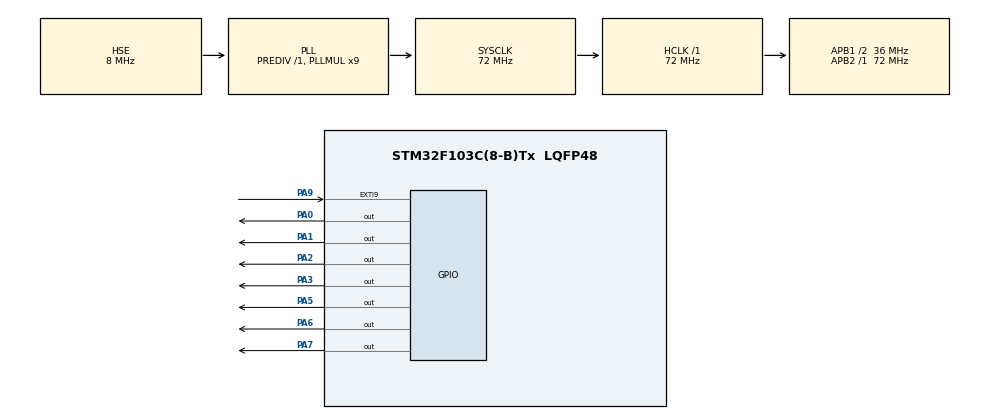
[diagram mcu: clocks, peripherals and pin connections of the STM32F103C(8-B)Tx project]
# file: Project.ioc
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FREERTOS.Tasks01=defaultTask,24,128,StartDefaultTask,Default,NULL,Dynamic,NULL,NULL
Mcu.Family=STM32F1
Mcu.Name=STM32F103C(8-B)Tx
Mcu.Package=LQFP48
NVIC.EXTI9_5_IRQn=true\:2\:0\:true\:false\:true\:false\:true\:true\:true
NVIC.PriorityGroup=NVIC_PRIORITYGROUP_4
NVIC.TIM4_IRQn=true\:0\:0\:false\:false\:true\:false\:false\:true\:true
NVIC.TimeBase=TIM4_IRQn
NVIC.TimeBaseIP=TIM4
PA0-WKUP.GPIO_Speed=GPIO_SPEED_FREQ_HIGH
PA0-WKUP.PinState=GPIO_PIN_SET
PA0-WKUP.Signal=GPIO_Output
PA1.GPIO_Speed=GPIO_SPEED_FREQ_HIGH
PA1.PinState=GPIO_PIN_SET
PA1.Signal=GPIO_Output
PA13.Mode=Serial_Wire
PA13.Signal=SYS_JTMS-SWDIO
PA14.Mode=Serial_Wire
PA14.Signal=SYS_JTCK-SWCLK
PA2.GPIO_Speed=GPIO_SPEED_FREQ_HIGH
PA2.PinState=GPIO_PIN_SET
PA2.Signal=GPIO_Output
PA3.GPIO_Speed=GPIO_SPEED_FREQ_HIGH
PA3.PinState=GPIO_PIN_SET
PA3.Signal=GPIO_Output
PA5.GPIO_Speed=GPIO_SPEED_FREQ_HIGH
PA5.PinState=GPIO_PIN_SET
PA5.Signal=GPIO_Output
PA6.GPIO_Speed=GPIO_SPEED_FREQ_HIGH
PA6.PinState=GPIO_PIN_SET
PA6.Signal=GPIO_Output
PA7.GPIO_Speed=GPIO_SPEED_FREQ_HIGH
PA7.PinState=GPIO_PIN_SET
PA7.Signal=GPIO_Output
PA9.GPIO_ModeDefaultEXTI=GPIO_MODE_IT_FALLING
PA9.GPIO_PuPd=GPIO_PULLUP
PA9.Signal=GPXTI9
PD0-OSC_IN.Mode=HSE-External-Oscillator
PD0-OSC_IN.Signal=RCC_OSC_IN
PD1-OSC_OUT.Mode=HSE-External-Oscillator
PD1-OSC_OUT.Signal=RCC_OSC_OUT
ProjectManager.HeapSize=0x200
ProjectManager.StackSize=0x400
ProjectManager.TargetToolchain=MDK-ARM V5.32
RCC.AHBFreq_Value=72000000
RCC.APB1CLKDivider=RCC_HCLK_DIV2
RCC.APB1Freq_Value=36000000
RCC.APB1TimFreq_Value=72000000
RCC.APB2Freq_Value=72000000
RCC.APB2TimFreq_Value=72000000
RCC.HCLKFreq_Value=72000000
RCC.PLLMUL=RCC_PLL_MUL9
RCC.PLLSourceVirtual=RCC_PLLSOURCE_HSE
RCC.SYSCLKFreq_VALUE=72000000
RCC.SYSCLKSource=RCC_SYSCLKSOURCE_PLLCLK
RCC.USBFreq_Value=72000000
TIM2.AutoReloadPreload=TIM_AUTORELOAD_PRELOAD_ENABLE
TIM2.Prescaler=71
VP_FREERTOS_VS_CMSIS_V2.Mode=CMSIS_V2
VP_SYS_VS_tim4.Mode=TIM4
VP_TIM2_VS_ClockSourceINT.Mode=Internal
board=custom

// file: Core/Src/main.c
/* USER CODE BEGIN Header */
/**
  ******************************************************************************
  * @file           : main.c
  * @brief          : Main program body
  ******************************************************************************
  * @attention
  *
  * Copyright (c) 2026 STMicroelectronics.
  * All rights reserved.
  *
  * This software is licensed under terms that can be found in the LICENSE file
  * in the root directory of this software component.
  * If no LICENSE file comes with this software, it is provided AS-IS.
  *
  ******************************************************************************
  */
/* USER CODE END Header */
#include "main.h"
#include "cmsis_os.h"
#include "tim.h"
#include "gpio.h"
#include "OLED.H"
#include "string.h"

extern uint8_t InfraredDat[5];
extern uint8_t Count;

void SystemClock_Config(void);
void MX_FREERTOS_Init(void);

int main(void)
{

  /* USER CODE BEGIN 1 */
  OLED_Init();
  OLED_Clear();
  OLED_ShowString(1,1,"Key:");
  OLED_ShowString(3,1,"State:");
  /* USER CODE END 1 */

  /* MCU Configuration--------------------------------------------------------*/

  /* Reset of all peripherals, Initializes the Flash interface and the Systick. */
  HAL_Init();

  /* Configure the system clock */
  SystemClock_Config();

  /* Initialize all configured peripherals */
  MX_GPIO_Init();
  MX_TIM2_Init();

  /* Init scheduler */
  osKernelInitialize();  /* Call init function for freertos objects (in cmsis_os2.c) */
  MX_FREERTOS_Init();

  /* Start scheduler */
  osKernelStart();

  /* We should never get here as control is now taken by the scheduler */

  /* Infinite loop */
  /* USER CODE BEGIN WHILE */
  while (1)
  {
//    OLED_ShowNum(2,8,Count,5);
//    /* USER CODE END WHILE */
//    if(InfraredDat[4]==0xAA)
//    {
//      OLED_ShowHexNum(2,1,InfraredDat[2],2);
//      memset(InfraredDat,0,sizeof(InfraredDat));
//    }
  }
}

void SystemClock_Config(void)
{
  RCC_OscInitTypeDef RCC_OscInitStruct = {0};
  RCC_ClkInitTypeDef RCC_ClkInitStruct = {0};

  /** Initializes the RCC Oscillators according to the specified parameters
  * in the RCC_OscInitTypeDef structure.
  */
  RCC_OscInitStruct.OscillatorType = RCC_OSCILLATORTYPE_HSE;
  RCC_OscInitStruct.HSEState = RCC_HSE_ON;
  RCC_OscInitStruct.HSEPredivValue = RCC_HSE_PREDIV_DIV1;
  RCC_OscInitStruct.HSIState = RCC_HSI_ON;
  RCC_OscInitStruct.PLL.PLLState = RCC_PLL_ON;
  RCC_OscInitStruct.PLL.PLLSource = RCC_PLLSOURCE_HSE;
  RCC_OscInitStruct.PLL.PLLMUL = RCC_PLL_MUL9;
  if (HAL_RCC_OscConfig(&RCC_OscInitStruct) != HAL_OK)
  {
    Error_Handler();
  }

  /** Initializes the CPU, AHB and APB buses clocks
  */
  RCC_ClkInitStruct.ClockType = RCC_CLOCKTYPE_HCLK|RCC_CLOCKTYPE_SYSCLK
                              |RCC_CLOCKTYPE_PCLK1|RCC_CLOCKTYPE_PCLK2;
  RCC_ClkInitStruct.SYSCLKSource = RCC_SYSCLKSOURCE_PLLCLK;
  RCC_ClkInitStruct.AHBCLKDivider = RCC_SYSCLK_DIV1;
  RCC_ClkInitStruct.APB1CLKDivider = RCC_HCLK_DIV2;
  RCC_ClkInitStruct.APB2CLKDivider = RCC_HCLK_DIV1;

  if (HAL_RCC_ClockConfig(&RCC_ClkInitStruct, FLASH_LATENCY_2) != HAL_OK)
  {
    Error_Handler();
  }
}

extern uint8_t InfraredFalg;
void HAL_TIM_PeriodElapsedCallback(TIM_HandleTypeDef *htim)
{
  if (htim->Instance == TIM4)
  {
    HAL_IncTick();
  }
  /* USER CODE BEGIN Callback 1 */
  if(htim->Instance==TIM2)
  {
    HAL_TIM_Base_Stop(&htim2);
    InfraredFalg=0;
  }
  /* USER CODE END Callback 1 */
}

void Error_Handler(void)
{
  __disable_irq();
  while (1)
  {
  }
}

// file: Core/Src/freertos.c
/* USER CODE BEGIN Header */
/**
  ******************************************************************************
  * File Name          : freertos.c
  * Description        : Code for freertos applications
  ******************************************************************************
  * @attention
  *
  * Copyright (c) 2026 STMicroelectronics.
  * All rights reserved.
  *
  * This software is licensed under terms that can be found in the LICENSE file
  * in the root directory of this software component.
  * If no LICENSE file comes with this software, it is provided AS-IS.
  *
  ******************************************************************************
  */
/* USER CODE END Header */

#include "FreeRTOS.h"
#include "task.h"
#include "tim.h"
#include "cmsis_os.h"
#include "OLED.H"
#include "string.h"
#include "MyLED.H"

uint8_t InfraredDat[5];
uint8_t MyLEDControl=0;
extern uint8_t Count;

/* Definitions for defaultTask */
osThreadId_t defaultTaskHandle;
const osThreadAttr_t defaultTask_attributes = {
  .name = "defaultTask",
  .stack_size = 128,
  .priority = (osPriority_t) osPriorityNormal,
};

osThreadId_t MyRTOSID;
const osThreadAttr_t MyRTOSConfig1=
{
  .name="MyRTOSTask1",
  .stack_size=128,
  .priority=(osPriority_t) osPriorityLow2,
};

void StartDefaultTask(void *argument);
void MyRTOSTask1(void *p);

void MX_FREERTOS_Init(void); /* (MISRA C 2004 rule 8.1) */

void MX_FREERTOS_Init(void) {

  /* Create the thread(s) */
  /* creation of defaultTask */
  defaultTaskHandle = osThreadNew(StartDefaultTask, NULL, &defaultTask_attributes);

  /* USER CODE BEGIN RTOS_THREADS */
  MyRTOSID=osThreadNew(MyRTOSTask1,NULL,&MyRTOSConfig1);
  /* add threads, ... */
  /* USER CODE END RTOS_THREADS */

}

void StartDefaultTask(void *argument)
{
  /* USER CODE BEGIN StartDefaultTask */
  /* Infinite loop */
  for(;;)
  {
    OLED_ShowNum(2,8,Count,5);
    OLED_ShowNum(4,8,__HAL_TIM_GET_COUNTER(&htim2),5);
    if(InfraredDat[4]==0xAA)
    {
      OLED_ShowString(1,8,"        ");
      OLED_ShowHexNum(2,1,InfraredDat[2],2);
      OLED_ShowHexNum(4,1,InfraredDat[4],2);
      MyLEDControl=InfraredDat[2];
      memset(InfraredDat,0,sizeof(InfraredDat));
    }
    else if(InfraredDat[4]==0x55)
    {
      OLED_ShowString(1,8,"Repeat");
      OLED_ShowHexNum(4,1,InfraredDat[4],2);
    }
    else if(InfraredDat[4]==0xFF)
    {
      OLED_ShowString(1,8,"ERR     ");
      memset(InfraredDat,0,sizeof(InfraredDat));
    }
    osDelay(10);
  }
  /* USER CODE END StartDefaultTask */
}

/* USER CODE BEGIN Application */
  void MyRTOSTask1(void *p)
  {
    while(1)
    {
      if(MyLEDControl==0x45)
      {
        HAL_GPIO_Write(GPIOA,0xFF);
      }
      else if(MyLEDControl==0x44)
      {
        MyLED_FlashingPoliceLight();
      }
      osDelay(30);
    }
  }
/* USER CODE END Application */
